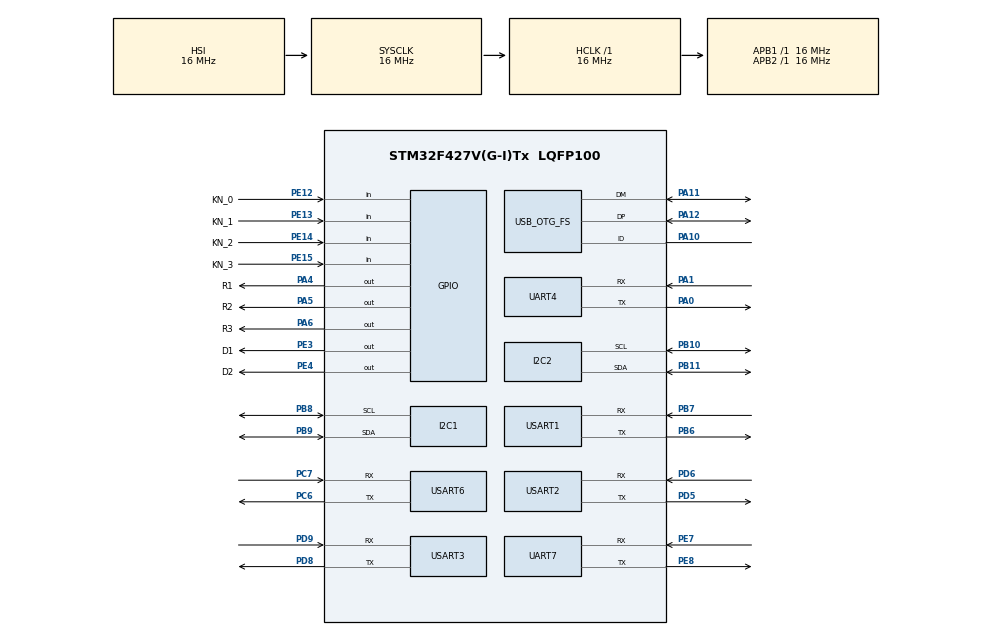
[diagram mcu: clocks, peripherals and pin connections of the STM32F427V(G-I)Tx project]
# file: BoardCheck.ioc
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Mcu.Family=STM32F4
Mcu.Name=STM32F427V(G-I)Tx
Mcu.Package=LQFP100
NVIC.PriorityGroup=NVIC_PRIORITYGROUP_4
PA0/WKUP.Mode=Asynchronous
PA0/WKUP.Signal=UART4_TX
PA1.Mode=Asynchronous
PA1.Signal=UART4_RX
PA10.Mode=OTG/Dual_Role_Device
PA10.Signal=USB_OTG_FS_ID
PA11.Mode=OTG/Dual_Role_Device
PA11.Signal=USB_OTG_FS_DM
PA12.Mode=OTG/Dual_Role_Device
PA12.Signal=USB_OTG_FS_DP
PA13.Mode=Serial_Wire
PA13.Signal=SYS_JTMS-SWDIO
PA14.Mode=Serial_Wire
PA14.Signal=SYS_JTCK-SWCLK
PA4.GPIO_Label=R1
PA4.Signal=GPIO_Output
PA5.GPIO_Label=R2
PA5.Signal=GPIO_Output
PA6.GPIO_Label=R3
PA6.Signal=GPIO_Output
PB10.Mode=I2C
PB10.Signal=I2C2_SCL
PB11.Mode=I2C
PB11.Signal=I2C2_SDA
PB6.Mode=Asynchronous
PB6.Signal=USART1_TX
PB7.Mode=Asynchronous
PB7.Signal=USART1_RX
PB8.Mode=I2C
PB8.Signal=I2C1_SCL
PB9.Mode=I2C
PB9.Signal=I2C1_SDA
PC6.Mode=Asynchronous
PC6.Signal=USART6_TX
PC7.Mode=Asynchronous
PC7.Signal=USART6_RX
PD5.Mode=Asynchronous
PD5.Signal=USART2_TX
PD6.Mode=Asynchronous
PD6.Signal=USART2_RX
PD8.Mode=Asynchronous
PD8.Signal=USART3_TX
PD9.Mode=Asynchronous
PD9.Signal=USART3_RX
PE12.GPIO_Label=KN_0
PE12.Signal=GPIO_Input
PE13.GPIO_Label=KN_1
PE13.Signal=GPIO_Input
PE14.GPIO_Label=KN_2
PE14.Signal=GPIO_Input
PE15.GPIO_Label=KN_3
PE15.Signal=GPIO_Input
PE3.GPIO_Label=D1
PE3.Signal=GPIO_Output
PE4.GPIO_Label=D2
PE4.Signal=GPIO_Output
PE7.Mode=Asynchronous
PE7.Signal=UART7_RX
PE8.Mode=Asynchronous
PE8.Signal=UART7_TX
PH0/OSC_IN.Mode=HSE-External-Oscillator
PH0/OSC_IN.Signal=RCC_OSC_IN
PH1/OSC_OUT.Mode=HSE-External-Oscillator
PH1/OSC_OUT.Signal=RCC_OSC_OUT
ProjectManager.HeapSize=0x200
ProjectManager.StackSize=0x400
ProjectManager.TargetToolchain=STM32CubeIDE
RCC.48MHZClocksFreq_Value=48000000
RCC.AHBFreq_Value=16000000
RCC.APB1Freq_Value=16000000
RCC.APB1TimFreq_Value=16000000
RCC.APB2Freq_Value=16000000
RCC.APB2TimFreq_Value=16000000
RCC.CortexFreq_Value=16000000
RCC.HCLKFreq_Value=16000000
RCC.HSE_VALUE=25000000
RCC.HSI_VALUE=16000000
RCC.LSE_VALUE=32768
RCC.PLLM=15
RCC.PLLN=144
RCC.PLLQ=5
RCC.SYSCLKFreq_VALUE=16000000
RCC.VCOOutputFreq_Value=240000000
UART4.VirtualMode=Asynchronous
UART7.VirtualMode=Asynchronous
USART1.VirtualMode=VM_ASYNC
USART2.VirtualMode=VM_ASYNC
USART3.VirtualMode=VM_ASYNC
USART6.VirtualMode=VM_ASYNC
board=custom

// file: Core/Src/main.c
/* USER CODE BEGIN Header */
/**
  ******************************************************************************
  * @file           : main.c
  * @brief          : Main program body
  ******************************************************************************
  * @attention
  *
  * Copyright (c) 2025 STMicroelectronics.
  * All rights reserved.
  *
  * This software is licensed under terms that can be found in the LICENSE file
  * in the root directory of this software component.
  * If no LICENSE file comes with this software, it is provided AS-IS.
  *
  ******************************************************************************
  */
/* USER CODE END Header */
#include "main.h"

/* USER CODE BEGIN Includes */
#include <string.h>
#include <stdio.h>

#include "periph_check.h"
#include "json.h"
/* USER CODE END Includes */

I2C_HandleTypeDef hi2c1;
I2C_HandleTypeDef hi2c2;

UART_HandleTypeDef huart4;
UART_HandleTypeDef huart7;
UART_HandleTypeDef huart1;
UART_HandleTypeDef huart2;
UART_HandleTypeDef huart3;
UART_HandleTypeDef huart6;

void SystemClock_Config(void);
static void MX_GPIO_Init(void);
static void MX_I2C1_Init(void);
static void MX_I2C2_Init(void);
static void MX_UART4_Init(void);
static void MX_UART7_Init(void);
static void MX_USART1_UART_Init(void);
static void MX_USART2_UART_Init(void);
static void MX_USART3_UART_Init(void);
static void MX_USART6_UART_Init(void);
static void MX_USB_OTG_FS_USB_Init(void);

/* USER CODE BEGIN 0 */
void UART_Echo(void)
{
    uint8_t rx_buffer[64] = {0};  // Буфер для приёма
    uint8_t length = 0;

    while (1)
    {
        // Читаем 1 байт (можно больше, если хочешь)
        if (HAL_UART_Receive(&huart3, &rx_buffer[length], 1, HAL_MAX_DELAY) == HAL_OK)
        {
            // Если получили символ конца строки, отправляем всё обратно
            if (rx_buffer[length] == '\n' || rx_buffer[length] == '\r')
            {
                rx_buffer[length + 1] = '\0'; // Для читаемости
                HAL_UART_Transmit(&huart3, rx_buffer, length + 1, 100);
                length = 0;  // Сбрасываем для нового сообщения
            }
            else
            {
                length++;
                if (length >= sizeof(rx_buffer) - 1)
                {
                    // Если переполнение буфера — отправляем что есть
                    HAL_UART_Transmit(&huart3, rx_buffer, length, 100);
                    length = 0;
                }
            }
        }
    }
}

void send_json_data(const struct JsonData *jd)
{
    char msg[128];

    // Отправляем sensor
    snprintf(msg, sizeof(msg), "sensor: %s\r\n", jd->sensor);
    HAL_UART_Transmit(&huart3, (uint8_t*)msg, strlen(msg), 100);

    // Отправляем status
    snprintf(msg, sizeof(msg), "status: %s\r\n", jd->status);
    HAL_UART_Transmit(&huart3, (uint8_t*)msg, strlen(msg), 100);

    // Отправляем message
    snprintf(msg, sizeof(msg), "message: %s\r\n", jd->message);
    HAL_UART_Transmit(&huart3, (uint8_t*)msg, strlen(msg), 100);

    // Разделитель для читаемости
    const char *divider = "-----------------------\r\n";
    HAL_UART_Transmit(&huart3, (uint8_t*)divider, strlen(divider), 100);
}

void I2C_Scan(void) {
    HAL_StatusTypeDef result;
    uint8_t i;

    for (i = 1; i < 128; i++) {
        /*
         * HAL_I2C_IsDeviceReady:
         * Проверяет, готово ли устройство с указанным адресом (7 бит)
         * к обмену данными. Выполняет несколько попыток.
         */
        result = HAL_I2C_IsDeviceReady(&hi2c1, (uint16_t)(i << 1), 1, 10);
        if (result == HAL_OK) {
            int x = 0;
        }
    }
}
/* USER CODE END 0 */

int main(void)
{

  /* MCU Configuration--------------------------------------------------------*/

  /* Reset of all peripherals, Initializes the Flash interface and the Systick. */
  HAL_Init();

  /* Configure the system clock */
  SystemClock_Config();

  /* Initialize all configured peripherals */
  MX_GPIO_Init();
  MX_I2C1_Init();
  MX_I2C2_Init();
  MX_UART4_Init();
  MX_UART7_Init();
  MX_USART1_UART_Init();
  MX_USART2_UART_Init();
  MX_USART3_UART_Init();
  MX_USART6_UART_Init();
  MX_USB_OTG_FS_USB_Init();

  /* USER CODE BEGIN 2 */

  HAL_Delay(500);
  struct periph_check pc;
  char json[256] = {0};
  struct JsonData jd;
  struct JsonData json_data;

  /* USER CODE END 2 */

  /* Infinite loop */
  /* USER CODE BEGIN WHILE */
  while (1)
  {
	  wait_for_json(&jd);

	  //ожидание json "board", "checking", "start init board"
	  //0. Инициализация
	  if (strcmp(jd.message, "start init board") == 0)
	  {
		  if (pc_init(&pc) == 0) {
			  QMC5883L_Init();
			  // MPU6050_Init(&hi2c1);
			  json_send_report(json, "board", "valid", "init successful");
		  } else {
			  json_send_report(json, "board", "invalid", "init error");
		  }

		  clear_JsonData(&jd);
	  }

	  //ожидание json "gps", "checking", "start check nmea"
	  else if (strcmp(jd.message, "start check nmea") == 0)
	  {
		  //1. Проверка навигационного приёмника
		  //1.1 Проверка целостности контрольной суммы пакетов NMEA
		  if (pc_gps_recv_nmea(&pc) == 0){
			  json_send_report(json, "gps", "valid", "gps nmea successfull");
		  } else {
			  json_send_report(json, "gps", "invalid", "gps nmea error");
		  }
		  clear_JsonData(&jd);
	  }

	  //2 Проверка компаса
	  //2.1 Проверка наличия компаса на линии
	  //ожидание json "compass", "checking", "start check i2c addr"
	  else if (strcmp(jd.message, "start check i2c addr") == 0)
	  {
		  //2.1 Проверка ответа по адресу I2C
		  if (HAL_I2C_IsDeviceReady(&hi2c1, 0x0D << 1, 3, 100) == HAL_OK){
			  json_send_report(json, "compass", "checking", "i2c address valid");
		  } else {
			  json_send_report(json, "compass", "invalid", "i2c address invalid");
		  }
		  clear_JsonData(&jd);
	  }
	  //2.2 Калибровка компаса

	  //ожидание json "compass", "checking", "start calibration position 1"
	  else if (strcmp(jd.message, "start calibration position 1") == 0)
	  {
		  //измерение магнитного поля в положении 1, калибровка
		  if (compass_calibr_pos1(&pc) == 0){
			  json_send_report(json, "compass", "checking", "calibration position 1 done");
		  } else {
			  json_send_report(json, "compass", "invalid", "calibration position 1 failure");
		  }
		  clear_JsonData(&jd);
	  }

	  //ожидание json "compass", "checking", "start calibration position 2"
	  else if (strcmp(jd.message, "start calibration position 2") == 0)
	  {
		  //измерение магнитного поля в положении 2, калибровка
		  if (compass_calibr_pos2(&pc) == 0){
			  json_send_report(json, "compass", "checking", "calibration position 2 done");
		  } else {
			  json_send_report(json, "compass", "invalid", "calibration position 2 failure");
		  }
		  clear_JsonData(&jd);
	  }

	  //2.3 Проверка компаса по осям x и y
	  //ожидание json "compass", "checking", "start checking position 1"
	  else if (strcmp(jd.message, "start checking position 1") == 0)
	  {
		  if (compass_check_pos1(&pc) == 0){
			  json_send_report(json, "compass", "checking", "cheking position 1 done");
		  } else {
			  json_send_report(json, "compass", "invalid", "cheking position 1 failure");
		  }
		  clear_JsonData(&jd);
	  }

	  //ожидание json "compass", "checking", "start checking position 2"
	  else if (strcmp(jd.message, "start checking position 2") == 0)
	  {
		  if (compass_check_pos2(&pc) == 0){
			  json_send_report(json, "compass", "checking", "cheking position 2 done");
		  } else {
			  json_send_report(json, "compass", "invalid", "cheking position 2 failure");
		  }
		  clear_JsonData(&jd);
	  }

	  //Кнопка "Далее"

	  //3. Проверка гироскопа
	  // ПОТОМ НАДО БУДЕТ ПОМЕНЯТЬ i2c1 на i2c2

	  //ожидание json "gyro", "checking", "start checking i2c addr"
	  else if (strcmp(jd.message, "start checking i2c addr") == 0)
	  {
		  //3.1 Проверка ответа по адресу I2C
		  if (HAL_I2C_IsDeviceReady(&hi2c1, 0x68 << 1, 3, 100) == HAL_OK){
			  json_send_report(json, "gyro", "checking", "i2c address valid");
		  } else {
			  json_send_report(json, "gyro", "invalid", "i2c address invalid");
		  }
		  clear_JsonData(&jd);
	  }

	  //ожидание json "gyro", "checking", "calibration position 1"
	  else if (strcmp(jd.message, "start calibration position 1") == 0)
	  {
		  //измерение ускорений и угловых скоростей в положении 1, калибровка
		  if (gyro_calibr_pos1(&pc) == 0){
			  json_send_report(json, "gyro", "checking", "calibration position 1 done");
		  } else {
			  json_send_report(json, "gyro", "invalid", "calibration position 1 failure");
		  }
		  clear_JsonData(&jd);
	  }

	  //Кнопка "Далее"
	  //Надпись "Поместите плату в положение 2 и нажмите Калибровка"

	  //Ожидание нажатия кнопки "Калибровка"
	  //от верхнего уровня приходит json {"gyro", "checking", "calibration position 2"}
	  //если нажата кнопка "Калибровка"

	  else if (strcmp(jd.message, "start calibration position 2") == 0)
	  {
		  //измерение ускорений и угловых скоростей в положении 2, калибровка
		  if (gyro_calibr_pos1(&pc) == 0){
			  json_send_report(json, "gyro", "checking", "calibration position 2 done");
		  } else {
			  json_send_report(json, "gyro", "invalid", "calibration position 2 failure");
		  }
		  clear_JsonData(&jd);
	  }
	  //3.3 Проверка показаний гироскопа в двух положениях
	  //Кнопка "Далее"
	  //Надпись "Поместите плату в положение 1 и нажмите Проверка"

	  //Ожидание нажатия кнопки "Проверка"
	  //от верхнего уровня приходит json {"gyro", "checking", "checking position 1"}
	  //если нажата кнопка "Проверка"

	  else if (strcmp(jd.message, "checking position 1") == 0)
	  {
		  //проверка данных гироскопа в положении 1
		  if (gyro_check_pos1(&pc) == 0){
			  json_send_report(json, "gyro", "checking", "cheking position 1 done");
		  } else {
			  json_send_report(json, "gyro", "invalid", "cheking position 1 failure");
		  }
		  clear_JsonData(&jd);
	  }

	  //Кнопка "Далее"
	  //Надпись "Поместите плату в положение 2 и нажмите Проверка"

	  //Ожидание нажатия кнопки "Проверка"
	  //от верхнего уровня приходит json {"gyro", "checking", "checking position 2"}
	  //если нажата кнопка "Калибровка"

	  //проверка данных гироскопа в положении 2

	  else if (strcmp(jd.message, "checking position 2") == 0)
	  {
		  if (gyro_check_pos2(&pc) == 0){
			  json_send_report(json, "gyro", "checking", "cheking position 2 done");
		  } else {
			  json_send_report(json, "gyro", "invalid", "cheking position 2 failure");
		  }
		  clear_JsonData(&jd);
	  }

	  //Кнопка "Далее"

	  //4. 	Проверка переключателей
	  //от верхнего уровня ждем json {"switсhes", "checking", "start check position down"}
	  else if (strcmp(jd.message, "start check position down") == 0)
	  {
		  pc.position = GPIO_PIN_SET;
		  if (switch_check(&pc) == 0) {
			  json_send_report(json, "switches", "checking", "checking position down done");
		  }
		  else {
			  json_send_report(json, "switches", "checking", "checking position down error");
		  }

		  clear_JsonData(&jd);
	  }

	  //от верхнего уровня ждем json {"switсhes", "checking", "start check position up"}
	  else if (strcmp(jd.message, "start check position up") == 0)
	  {
		  pc.position = GPIO_PIN_RESET;
		  if (switch_check(&pc) == 0) {
			  json_send_report(json, "switсhes", "checking", "cheking position up done");
			}
		  else {
			  json_send_report(json, "switсhes", "checking", "cheking position up error");
		  }
		  clear_JsonData(&jd);
	  }

	  //5. Проверка реле
	  //от верхнего уровня ждем json {"relay", "checking", "start check"}
	  else if (strcmp(jd.message, "start check") == 0)
	  {
		  relay_check();
		  clear_JsonData(&jd);
	  }

	  //6. Проверка GSM
	  else if (strcmp(jd.message, "start check gsm") == 0)
	  {
		  if(gsm_check(&pc, &json_data) == 0) {
			  json_send_report(json, "gsm", "checking", "done");
		  }
		  else {
			  json_send_report(json, "gsm", "checking", "error");
		  }
		  clear_JsonData(&jd);
	  }
	  else
	  {
		  json_send_report(json, "json", "error", "unknown json");
		  clear_JsonData(&jd);
	  }

    /* USER CODE END WHILE */

  }
}

void SystemClock_Config(void)
{
  RCC_OscInitTypeDef RCC_OscInitStruct = {0};
  RCC_ClkInitTypeDef RCC_ClkInitStruct = {0};

  /** Configure the main internal regulator output voltage
  */
  __HAL_RCC_PWR_CLK_ENABLE();
  __HAL_PWR_VOLTAGESCALING_CONFIG(PWR_REGULATOR_VOLTAGE_SCALE3);

  /** Initializes the RCC Oscillators according to the specified parameters
  * in the RCC_OscInitTypeDef structure.
  */
  RCC_OscInitStruct.OscillatorType = RCC_OSCILLATORTYPE_HSI|RCC_OSCILLATORTYPE_HSE;
  RCC_OscInitStruct.HSEState = RCC_HSE_ON;
  RCC_OscInitStruct.HSIState = RCC_HSI_ON;
  RCC_OscInitStruct.HSICalibrationValue = RCC_HSICALIBRATION_DEFAULT;
  RCC_OscInitStruct.PLL.PLLState = RCC_PLL_ON;
  RCC_OscInitStruct.PLL.PLLSource = RCC_PLLSOURCE_HSE;
  RCC_OscInitStruct.PLL.PLLM = 15;
  RCC_OscInitStruct.PLL.PLLN = 144;
  RCC_OscInitStruct.PLL.PLLP = RCC_PLLP_DIV2;
  RCC_OscInitStruct.PLL.PLLQ = 5;
  if (HAL_RCC_OscConfig(&RCC_OscInitStruct) != HAL_OK)
  {
    Error_Handler();
  }

  /** Initializes the CPU, AHB and APB buses clocks
  */
  RCC_ClkInitStruct.ClockType = RCC_CLOCKTYPE_HCLK|RCC_CLOCKTYPE_SYSCLK
                              |RCC_CLOCKTYPE_PCLK1|RCC_CLOCKTYPE_PCLK2;
  RCC_ClkInitStruct.SYSCLKSource = RCC_SYSCLKSOURCE_HSI;
  RCC_ClkInitStruct.AHBCLKDivider = RCC_SYSCLK_DIV1;
  RCC_ClkInitStruct.APB1CLKDivider = RCC_HCLK_DIV1;
  RCC_ClkInitStruct.APB2CLKDivider = RCC_HCLK_DIV1;

  if (HAL_RCC_ClockConfig(&RCC_ClkInitStruct, FLASH_LATENCY_0) != HAL_OK)
  {
    Error_Handler();
  }
}

static void MX_I2C1_Init(void)
{

  hi2c1.Instance = I2C1;
  hi2c1.Init.ClockSpeed = 100000;
  hi2c1.Init.DutyCycle = I2C_DUTYCYCLE_2;
  hi2c1.Init.OwnAddress1 = 0;
  hi2c1.Init.AddressingMode = I2C_ADDRESSINGMODE_7BIT;
  hi2c1.Init.DualAddressMode = I2C_DUALADDRESS_DISABLE;
  hi2c1.Init.OwnAddress2 = 0;
  hi2c1.Init.GeneralCallMode = I2C_GENERALCALL_DISABLE;
  hi2c1.Init.NoStretchMode = I2C_NOSTRETCH_DISABLE;
  if (HAL_I2C_Init(&hi2c1) != HAL_OK)
  {
    Error_Handler();
  }

  /** Configure Analogue filter
  */
  if (HAL_I2CEx_ConfigAnalogFilter(&hi2c1, I2C_ANALOGFILTER_ENABLE) != HAL_OK)
  {
    Error_Handler();
  }

  /** Configure Digital filter
  */
  if (HAL_I2CEx_ConfigDigitalFilter(&hi2c1, 0) != HAL_OK)
  {
    Error_Handler();
  }

}

static void MX_I2C2_Init(void)
{

  hi2c2.Instance = I2C2;
  hi2c2.Init.ClockSpeed = 100000;
  hi2c2.Init.DutyCycle = I2C_DUTYCYCLE_2;
  hi2c2.Init.OwnAddress1 = 0;
  hi2c2.Init.AddressingMode = I2C_ADDRESSINGMODE_7BIT;
  hi2c2.Init.DualAddressMode = I2C_DUALADDRESS_DISABLE;
  hi2c2.Init.OwnAddress2 = 0;
  hi2c2.Init.GeneralCallMode = I2C_GENERALCALL_DISABLE;
  hi2c2.Init.NoStretchMode = I2C_NOSTRETCH_DISABLE;
  if (HAL_I2C_Init(&hi2c2) != HAL_OK)
  {
    Error_Handler();
  }

  /** Configure Analogue filter
  */
  if (HAL_I2CEx_ConfigAnalogFilter(&hi2c2, I2C_ANALOGFILTER_ENABLE) != HAL_OK)
  {
    Error_Handler();
  }

  /** Configure Digital filter
  */
  if (HAL_I2CEx_ConfigDigitalFilter(&hi2c2, 0) != HAL_OK)
  {
    Error_Handler();
  }

}

static void MX_UART4_Init(void)
{

  huart4.Instance = UART4;
  huart4.Init.BaudRate = 115200;
  huart4.Init.WordLength = UART_WORDLENGTH_8B;
  huart4.Init.StopBits = UART_STOPBITS_1;
  huart4.Init.Parity = UART_PARITY_NONE;
  huart4.Init.Mode = UART_MODE_TX_RX;
  huart4.Init.HwFlowCtl = UART_HWCONTROL_NONE;
  huart4.Init.OverSampling = UART_OVERSAMPLING_16;
  if (HAL_UART_Init(&huart4) != HAL_OK)
  {
    Error_Handler();
  }

}

static void MX_UART7_Init(void)
{

  huart7.Instance = UART7;
  huart7.Init.BaudRate = 115200;
  huart7.Init.WordLength = UART_WORDLENGTH_8B;
  huart7.Init.StopBits = UART_STOPBITS_1;
  huart7.Init.Parity = UART_PARITY_NONE;
  huart7.Init.Mode = UART_MODE_TX_RX;
  huart7.Init.HwFlowCtl = UART_HWCONTROL_NONE;
  huart7.Init.OverSampling = UART_OVERSAMPLING_16;
  if (HAL_UART_Init(&huart7) != HAL_OK)
  {
    Error_Handler();
  }

}

static void MX_USART1_UART_Init(void)
{

  huart1.Instance = USART1;
  huart1.Init.BaudRate = 115200;
  huart1.Init.WordLength = UART_WORDLENGTH_8B;
  huart1.Init.StopBits = UART_STOPBITS_1;
  huart1.Init.Parity = UART_PARITY_NONE;
  huart1.Init.Mode = UART_MODE_TX_RX;
  huart1.Init.HwFlowCtl = UART_HWCONTROL_NONE;
  huart1.Init.OverSampling = UART_OVERSAMPLING_16;
  if (HAL_UART_Init(&huart1) != HAL_OK)
  {
    Error_Handler();
  }

}

static void MX_USART2_UART_Init(void)
{

  huart2.Instance = USART2;
  huart2.Init.BaudRate = 9600;
  huart2.Init.WordLength = UART_WORDLENGTH_8B;
  huart2.Init.StopBits = UART_STOPBITS_1;
  huart2.Init.Parity = UART_PARITY_NONE;
  huart2.Init.Mode = UART_MODE_TX_RX;
  huart2.Init.HwFlowCtl = UART_HWCONTROL_NONE;
  huart2.Init.OverSampling = UART_OVERSAMPLING_16;
  if (HAL_UART_Init(&huart2) != HAL_OK)
  {
    Error_Handler();
  }

}

static void MX_USART3_UART_Init(void)
{

  huart3.Instance = USART3;
  huart3.Init.BaudRate = 115200;
  huart3.Init.WordLength = UART_WORDLENGTH_8B;
  huart3.Init.StopBits = UART_STOPBITS_1;
  huart3.Init.Parity = UART_PARITY_NONE;
  huart3.Init.Mode = UART_MODE_TX_RX;
  huart3.Init.HwFlowCtl = UART_HWCONTROL_NONE;
  huart3.Init.OverSampling = UART_OVERSAMPLING_16;
  if (HAL_UART_Init(&huart3) != HAL_OK)
  {
    Error_Handler();
  }

}

static void MX_USART6_UART_Init(void)
{

  huart6.Instance = USART6;
  huart6.Init.BaudRate = 9600;
  huart6.Init.WordLength = UART_WORDLENGTH_8B;
  huart6.Init.StopBits = UART_STOPBITS_1;
  huart6.Init.Parity = UART_PARITY_NONE;
  huart6.Init.Mode = UART_MODE_TX_RX;
  huart6.Init.HwFlowCtl = UART_HWCONTROL_NONE;
  huart6.Init.OverSampling = UART_OVERSAMPLING_16;
  if (HAL_UART_Init(&huart6) != HAL_OK)
  {
    Error_Handler();
  }

}

static void MX_USB_OTG_FS_USB_Init(void)
{

}

static void MX_GPIO_Init(void)
{
  GPIO_InitTypeDef GPIO_InitStruct = {0};

  /* GPIO Ports Clock Enable */
  __HAL_RCC_GPIOE_CLK_ENABLE();
  __HAL_RCC_GPIOH_CLK_ENABLE();
  __HAL_RCC_GPIOA_CLK_ENABLE();
  __HAL_RCC_GPIOB_CLK_ENABLE();
  __HAL_RCC_GPIOD_CLK_ENABLE();
  __HAL_RCC_GPIOC_CLK_ENABLE();

  /*Configure GPIO pin Output Level */
  HAL_GPIO_WritePin(GPIOE, D1_Pin|D2_Pin, GPIO_PIN_RESET);

  /*Configure GPIO pin Output Level */
  HAL_GPIO_WritePin(GPIOA, R1_Pin|R2_Pin|R3_Pin, GPIO_PIN_RESET);

  /*Configure GPIO pins : D1_Pin D2_Pin */
  GPIO_InitStruct.Pin = D1_Pin|D2_Pin;
  GPIO_InitStruct.Mode = GPIO_MODE_OUTPUT_PP;
  GPIO_InitStruct.Pull = GPIO_NOPULL;
  GPIO_InitStruct.Speed = GPIO_SPEED_FREQ_LOW;
  HAL_GPIO_Init(GPIOE, &GPIO_InitStruct);

  /*Configure GPIO pins : R1_Pin R2_Pin R3_Pin */
  GPIO_InitStruct.Pin = R1_Pin|R2_Pin|R3_Pin;
  GPIO_InitStruct.Mode = GPIO_MODE_OUTPUT_PP;
  GPIO_InitStruct.Pull = GPIO_NOPULL;
  GPIO_InitStruct.Speed = GPIO_SPEED_FREQ_LOW;
  HAL_GPIO_Init(GPIOA, &GPIO_InitStruct);

  /*Configure GPIO pins : KN_0_Pin KN_1_Pin KN_2_Pin KN_3_Pin */
  GPIO_InitStruct.Pin = KN_0_Pin|KN_1_Pin|KN_2_Pin|KN_3_Pin;
  GPIO_InitStruct.Mode = GPIO_MODE_INPUT;
  GPIO_InitStruct.Pull = GPIO_NOPULL;
  HAL_GPIO_Init(GPIOE, &GPIO_InitStruct);

  /*Configure GPIO pins : PA10 PA11 PA12 */
  GPIO_InitStruct.Pin = GPIO_PIN_10|GPIO_PIN_11|GPIO_PIN_12;
  GPIO_InitStruct.Mode = GPIO_MODE_AF_PP;
  GPIO_InitStruct.Pull = GPIO_NOPULL;
  GPIO_InitStruct.Speed = GPIO_SPEED_FREQ_VERY_HIGH;
  GPIO_InitStruct.Alternate = GPIO_AF10_OTG_FS;
  HAL_GPIO_Init(GPIOA, &GPIO_InitStruct);

}

void Error_Handler(void)
{
  __disable_irq();
  while (1)
  {
  }
}
